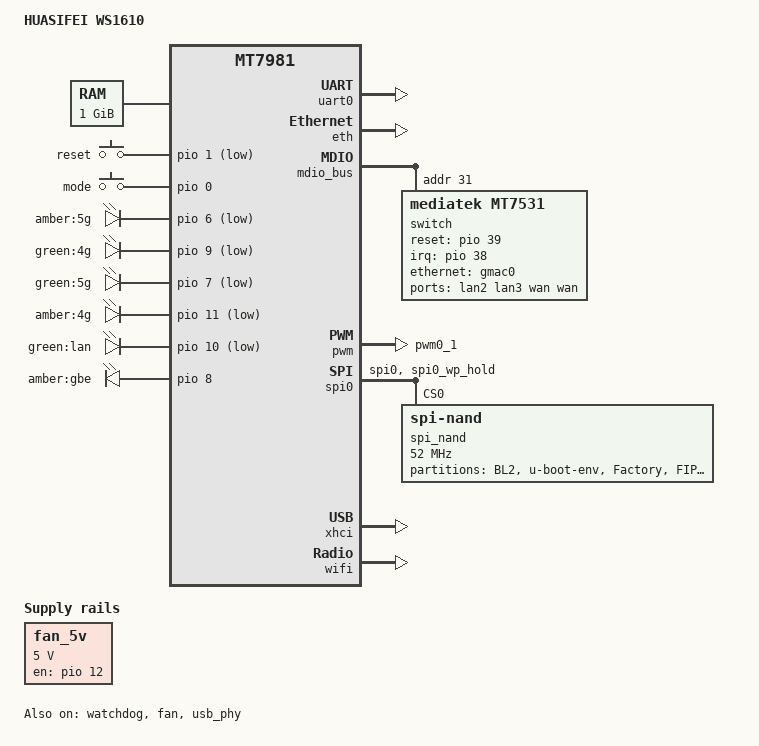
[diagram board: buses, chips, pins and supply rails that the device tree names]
/dts-v1/;

#include "mt7981.dtsi"

/ {
	model = "HUASIFEI WS1610";
	compatible = "huasifei,ws1610", "mediatek,mt7981";

	aliases {
		serial0 = &uart0;
		led-boot = &led_status_lan;
		led-failsafe = &led_status_lan;
		led-running = &led_status_lan;
		led-upgrade = &led_status_lan;
;
	};

	chosen {
		stdout-path = "serial0:115200n8";
	};

	memory@40000000 {
		reg = <0 0x40000000 0 0x40000000>;
	};

	gpio-keys {
		compatible = "gpio-keys";

		reset {
			label = "reset";
			linux,code = <KEY_RESTART>;
			gpios = <&pio 1 GPIO_ACTIVE_LOW>;
		};

		mode {
			label = "mode";
			linux,input-type = <EV_SW>;
			linux,code = <BTN_0>;
			gpios = <&pio 0 GPIO_ACTIVE_HIGH>;
			debounce-interval = <60>;
		};
	};

	leds {
		compatible = "gpio-leds";

		led_status_red: red {
			label = "amber:5g";
			gpios = <&pio 6 GPIO_ACTIVE_LOW>;
		};

		led_status_green: green {
			label = "green:4g";
			gpios = <&pio 9 GPIO_ACTIVE_LOW>;
		};
		
		led_status_blue: blue {
			label = "green:5g";
			gpios = <&pio 7 GPIO_ACTIVE_LOW>;
		};
		
		led_status_4g: 4g {
			label = "amber:4g";
			gpios = <&pio 11 GPIO_ACTIVE_LOW>;
		};
		
		led_status_lan: lan {
			label = "green:lan";
			gpios = <&pio 10 GPIO_ACTIVE_LOW>;
		};
		
		led_status_wan: wan {
			label = "amber:gbe";
			gpios = <&pio 8 GPIO_ACTIVE_HIGH>;
		};
;
	};
};

	fan_5v: regulator-fan-5v {
		compatible = "regulator-fixed";
		regulator-name = "fan";
		regulator-min-microvolt = <5000000>;
		regulator-max-microvolt = <5000000>;
		gpios = <&pio 28 GPIO_ACTIVE_HIGH>;
		enable-active-high;
		regulator-boot-on;
	};

	usb_vbus: regulator-usb-vbus {
		compatible = "regulator-fixed";
		regulator-name = "usb_vbus";
		regulator-min-microvolt = <5000000>;
		regulator-max-microvolt = <5000000>;
		gpios = <&pio 12 GPIO_ACTIVE_HIGH>;
		enable-active-high;
		regulator-boot-on;
	};
};

&uart0 {
	status = "okay";
};

&watchdog {
	status = "okay";
};

&eth {
	status = "okay";

	gmac0: mac@0 {
		compatible = "mediatek,eth-mac";
		reg = <0>;
		phy-mode = "2500base-x";

		nvmem-cell-names = "mac-address";
		nvmem-cells = <&macaddr_factory_4 (-1)>;

		fixed-link {
			speed = <2500>;
			full-duplex;
			pause;
		};
	};
};

&mdio_bus {
	switch: switch@1f {
		compatible = "mediatek,mt7531";
		reg = <0x1f>;
		reset-gpios = <&pio 39 GPIO_ACTIVE_HIGH>;
		interrupt-controller;
		#interrupt-cells = <1>;
		interrupt-parent = <&pio>;
		interrupts = <38 IRQ_TYPE_LEVEL_HIGH>;
	};
};

&switch {
	ports {
		#address-cells = <1>;
		#size-cells = <0>;

		port@1 {
			reg = <1>;
			label = "lan2";
		};

		port@2 {
			reg = <2>;
			label = "lan3";
		};

		port@3 {
			reg = <3>;
			label = "wan";
		};

		wan: port@4 {
			reg = <4>;
			label = "wan";

			nvmem-cell-names = "mac-address";
			nvmem-cells = <&macaddr_factory_4 (-2)>;
		};

		port@6 {
			reg = <6>;
			ethernet = <&gmac0>;
			phy-mode = "2500base-x";

			fixed-link {
				speed = <2500>;
				full-duplex;
				pause;
			};
		};
	};
};


&pwm {
	pinctrl-names = "default";
	pinctrl-0 = <&pwm_pins>;

	status = "okay";
};

&fan {
	pwms = <&pwm 0 40000 0>;
	fan-supply = <&fan_5v>;
	interrupt-parent = <&pio>;
	interrupts = <29 IRQ_TYPE_EDGE_RISING>;
	status = "okay";
};

&spi0 {
	pinctrl-names = "default";
	pinctrl-0 = <&spi0_flash_pins>;
	status = "okay";

	spi_nand: flash@0 {
		#address-cells = <1>;
		#size-cells = <1>;
		compatible = "spi-nand";
		reg = <0>;
		spi-max-frequency = <52000000>;
		spi-tx-bus-width = <4>;
		spi-rx-bus-width = <4>;

		mediatek,nmbm;
		mediatek,bmt-max-ratio = <1>;
		mediatek,bmt-max-reserved-blocks = <64>;

		partitions {
			compatible = "fixed-partitions";
			#address-cells = <1>;
			#size-cells = <1>;

			partition@0 {
				label = "BL2";
				reg = <0x00000 0x0100000>;
			};

			partition@100000 {
				label = "u-boot-env";
				reg = <0x0100000 0x0080000>;
			};

			partition@180000 {
				label = "Factory";
				reg = <0x180000 0x200000>;
				read-only;

				nvmem-layout {
					compatible = "fixed-layout";
					#address-cells = <1>;
					#size-cells = <1>;

					eeprom_factory_0: eeprom@0 {
						reg = <0x0 0x1000>;
					};

					macaddr_factory_4: macaddr@4 {
						compatible = "mac-base";
						reg = <0x4 0x6>;
						#nvmem-cell-cells = <1>;
					};
				};
			};

			partition@380000 {
				label = "FIP";
				reg = <0x380000 0x0200000>;
			};

			partition@580000 {
				label = "woem";
				reg = <0x580000 0xa0000>;
			};

			partition@620000 {
				label = "ubi";
				reg = <0x620000 0x7000000>;
			};

			partition@7620000 {
				label = "ubi2";
				reg = <0x7620000 0x7000000>;
			};

			partition@E620000 {
				label = "wtinfo";
				reg = <0xe620000 0x60000>;
			};

			partition@E680000 {
				label = "nvram";
				reg = <0xe680000 0x60000>;
			};
		};
	};
};
&pio {
	spi0_flash_pins: spi0-pins {
		mux {
			function = "spi";
			groups = "spi0", "spi0_wp_hold";
		};
	};

	pwm_pins: pwm0-pins {
		mux {
			function = "pwm";
			groups = "pwm0_1";
		};
	};
};

&usb_phy {
	status = "okay";
};

&xhci {
	status = "okay";
};

&watchdog {
	status = "okay";
};

&wifi {
	nvmem-cells = <&eeprom_factory_0>;
	nvmem-cell-names = "eeprom";

	status = "okay";
};
